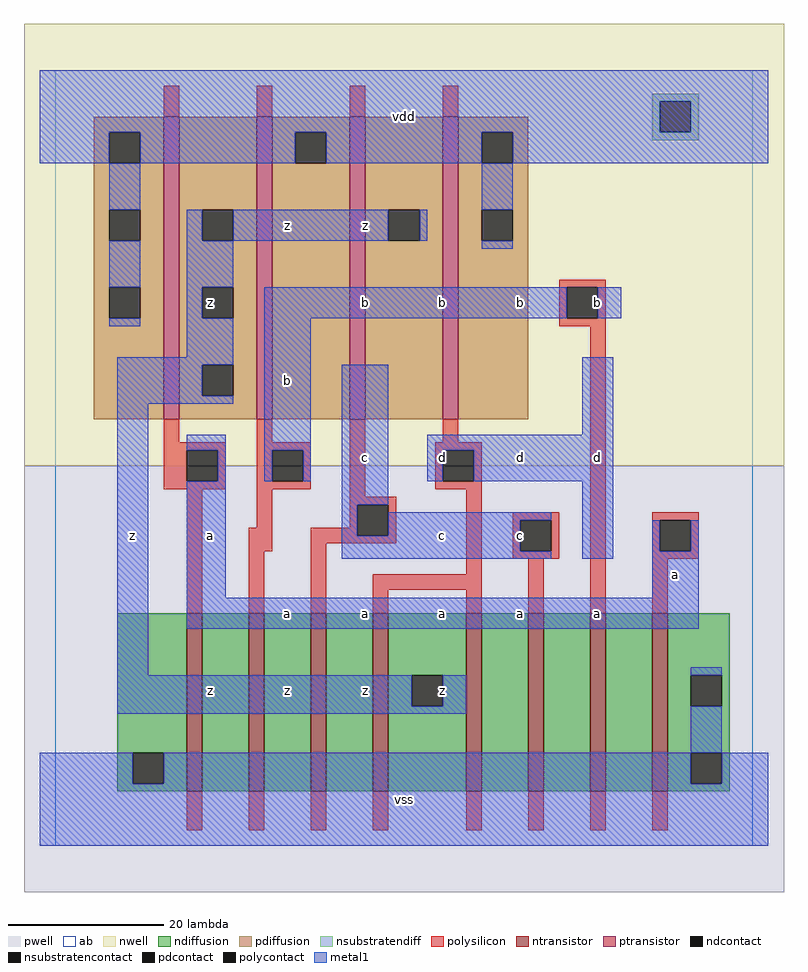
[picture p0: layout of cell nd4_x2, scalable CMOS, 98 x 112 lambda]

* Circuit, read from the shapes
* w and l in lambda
.subckt nd4_x2 a b c d vdd vss z
M1 n1 a vss VSUBS nfet w=23 l=2
M2 n2 b n1 VSUBS nfet w=23 l=2
M3 n3 c n2 VSUBS nfet w=23 l=2
M4 z d n3 VSUBS nfet w=23 l=2
M5 n4 d z VSUBS nfet w=23 l=2
M6 n5 c n4 VSUBS nfet w=23 l=2
M7 n6 b n5 VSUBS nfet w=23 l=2
M8 vss a n6 VSUBS nfet w=23 l=2
M9 z a vdd vdd pfet w=39 l=2
M10 vdd b z vdd pfet w=39 l=2
M11 z c vdd vdd pfet w=39 l=2
M12 vdd d z vdd pfet w=39 l=2
.ends

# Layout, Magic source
magic
tech scmos
<< ab >>
rect 0 0 90 100
<< pwell >>
rect -4 -6 94 49
<< nwell >>
rect -4 49 94 106
<< polysilicon >>
rect 14 94 16 98
rect 26 94 28 98
rect 38 94 40 98
rect 50 94 52 98
rect 65 72 71 73
rect 65 68 66 72
rect 70 68 71 72
rect 65 67 71 68
rect 14 52 16 55
rect 26 52 28 55
rect 14 51 22 52
rect 14 47 17 51
rect 21 47 22 51
rect 14 46 22 47
rect 26 51 33 52
rect 26 47 28 51
rect 32 47 33 51
rect 26 46 33 47
rect 17 30 19 46
rect 26 41 28 46
rect 38 45 40 55
rect 50 52 52 55
rect 49 51 55 52
rect 49 47 50 51
rect 54 47 55 51
rect 49 46 55 47
rect 38 44 44 45
rect 38 41 39 44
rect 25 38 28 41
rect 33 40 39 41
rect 43 40 44 44
rect 33 39 44 40
rect 25 30 27 38
rect 33 30 35 39
rect 53 35 55 46
rect 59 42 65 43
rect 59 38 60 42
rect 64 38 65 42
rect 59 37 65 38
rect 41 33 55 35
rect 41 30 43 33
rect 53 30 55 33
rect 61 30 63 37
rect 69 30 71 67
rect 77 42 83 43
rect 77 38 78 42
rect 82 38 83 42
rect 77 37 83 38
rect 77 30 79 37
rect 17 2 19 7
rect 25 2 27 7
rect 33 2 35 7
rect 41 2 43 7
rect 53 2 55 7
rect 61 2 63 7
rect 69 2 71 7
rect 77 2 79 7
<< ndiffusion >>
rect 8 12 17 30
rect 8 8 10 12
rect 14 8 17 12
rect 8 7 17 8
rect 19 7 25 30
rect 27 7 33 30
rect 35 7 41 30
rect 43 22 53 30
rect 43 18 46 22
rect 50 18 53 22
rect 43 7 53 18
rect 55 7 61 30
rect 63 7 69 30
rect 71 7 77 30
rect 79 22 87 30
rect 79 18 82 22
rect 86 18 87 22
rect 79 12 87 18
rect 79 8 82 12
rect 86 8 87 12
rect 79 7 87 8
<< pdiffusion >>
rect 5 92 14 94
rect 5 88 7 92
rect 11 88 14 92
rect 5 82 14 88
rect 5 78 7 82
rect 11 78 14 82
rect 5 72 14 78
rect 5 68 7 72
rect 11 68 14 72
rect 5 55 14 68
rect 16 82 26 94
rect 16 78 19 82
rect 23 78 26 82
rect 16 72 26 78
rect 16 68 19 72
rect 23 68 26 72
rect 16 62 26 68
rect 16 58 19 62
rect 23 58 26 62
rect 16 55 26 58
rect 28 92 38 94
rect 28 88 31 92
rect 35 88 38 92
rect 28 55 38 88
rect 40 82 50 94
rect 40 78 43 82
rect 47 78 50 82
rect 40 55 50 78
rect 52 92 61 94
rect 52 88 55 92
rect 59 88 61 92
rect 52 82 61 88
rect 52 78 55 82
rect 59 78 61 82
rect 52 55 61 78
<< metal1 >>
rect -2 92 92 100
rect -2 88 7 92
rect 11 88 31 92
rect 35 88 55 92
rect 59 88 92 92
rect 7 82 11 88
rect 55 82 59 88
rect 7 72 11 78
rect 7 67 11 68
rect 17 78 19 82
rect 23 78 43 82
rect 47 78 48 82
rect 17 72 23 78
rect 55 77 59 78
rect 17 68 19 72
rect 17 63 23 68
rect 8 62 23 63
rect 8 58 19 62
rect 8 57 23 58
rect 27 68 66 72
rect 70 68 73 72
rect 8 22 12 57
rect 17 51 22 53
rect 21 47 22 51
rect 27 51 33 68
rect 27 47 28 51
rect 32 47 33 51
rect 17 32 22 47
rect 37 44 43 62
rect 68 53 72 63
rect 48 51 72 53
rect 48 47 50 51
rect 54 47 72 51
rect 37 40 39 44
rect 43 42 64 43
rect 43 40 60 42
rect 37 38 60 40
rect 37 37 64 38
rect 68 37 72 47
rect 77 38 78 42
rect 82 38 83 42
rect 77 32 83 38
rect 17 28 83 32
rect 82 22 86 23
rect 8 18 46 22
rect 50 18 53 22
rect 8 17 53 18
rect 82 12 86 18
rect -2 8 10 12
rect 14 8 82 12
rect 86 8 92 12
rect -2 0 92 8
<< ntransistor >>
rect 17 7 19 30
rect 25 7 27 30
rect 33 7 35 30
rect 41 7 43 30
rect 53 7 55 30
rect 61 7 63 30
rect 69 7 71 30
rect 77 7 79 30
<< ptransistor >>
rect 14 55 16 94
rect 26 55 28 94
rect 38 55 40 94
rect 50 55 52 94
<< polycontact >>
rect 66 68 70 72
rect 17 47 21 51
rect 28 47 32 51
rect 50 47 54 51
rect 39 40 43 44
rect 60 38 64 42
rect 78 38 82 42
<< ndcontact >>
rect 10 8 14 12
rect 46 18 50 22
rect 82 18 86 22
rect 82 8 86 12
<< pdcontact >>
rect 7 88 11 92
rect 7 78 11 82
rect 7 68 11 72
rect 19 78 23 82
rect 19 68 23 72
rect 19 58 23 62
rect 31 88 35 92
rect 43 78 47 82
rect 55 88 59 92
rect 55 78 59 82
<< nsubstratencontact >>
rect 78 92 82 96
<< nsubstratendiff >>
rect 77 96 83 97
rect 77 92 78 96
rect 82 92 83 96
rect 77 91 83 92
<< labels >>
rlabel metal1 10 40 10 40 6 z
rlabel metal1 10 40 10 40 6 z
rlabel metal1 30 20 30 20 6 z
rlabel metal1 30 20 30 20 6 z
rlabel metal1 20 20 20 20 6 z
rlabel metal1 20 20 20 20 6 z
rlabel metal1 30 30 30 30 6 a
rlabel metal1 30 30 30 30 6 a
rlabel metal1 20 40 20 40 6 a
rlabel metal1 20 40 20 40 6 a
rlabel metal1 30 60 30 60 6 b
rlabel metal1 30 60 30 60 6 b
rlabel pdcontact 20 70 20 70 6 z
rlabel pdcontact 20 70 20 70 6 z
rlabel metal1 30 80 30 80 6 z
rlabel metal1 30 80 30 80 6 z
rlabel metal1 45 6 45 6 6 vss
rlabel metal1 45 6 45 6 6 vss
rlabel metal1 40 20 40 20 6 z
rlabel metal1 50 20 50 20 6 z
rlabel metal1 40 20 40 20 6 z
rlabel metal1 50 20 50 20 6 z
rlabel metal1 50 30 50 30 6 a
rlabel metal1 40 30 40 30 6 a
rlabel metal1 40 30 40 30 6 a
rlabel metal1 50 30 50 30 6 a
rlabel metal1 50 40 50 40 6 c
rlabel metal1 50 40 50 40 6 c
rlabel metal1 50 50 50 50 6 d
rlabel metal1 40 50 40 50 6 c
rlabel metal1 40 50 40 50 6 c
rlabel metal1 50 50 50 50 6 d
rlabel metal1 50 70 50 70 6 b
rlabel metal1 40 70 40 70 6 b
rlabel metal1 50 70 50 70 6 b
rlabel metal1 40 70 40 70 6 b
rlabel metal1 40 80 40 80 6 z
rlabel metal1 40 80 40 80 6 z
rlabel metal1 45 94 45 94 6 vdd
rlabel metal1 45 94 45 94 6 vdd
rlabel metal1 70 30 70 30 6 a
rlabel metal1 60 30 60 30 6 a
rlabel metal1 60 30 60 30 6 a
rlabel metal1 70 30 70 30 6 a
rlabel metal1 60 40 60 40 6 c
rlabel metal1 60 40 60 40 6 c
rlabel metal1 70 50 70 50 6 d
rlabel metal1 60 50 60 50 6 d
rlabel metal1 70 50 70 50 6 d
rlabel metal1 60 50 60 50 6 d
rlabel metal1 70 70 70 70 6 b
rlabel metal1 60 70 60 70 6 b
rlabel metal1 70 70 70 70 6 b
rlabel metal1 60 70 60 70 6 b
rlabel metal1 80 35 80 35 6 a
rlabel metal1 80 35 80 35 6 a
<< end >>
